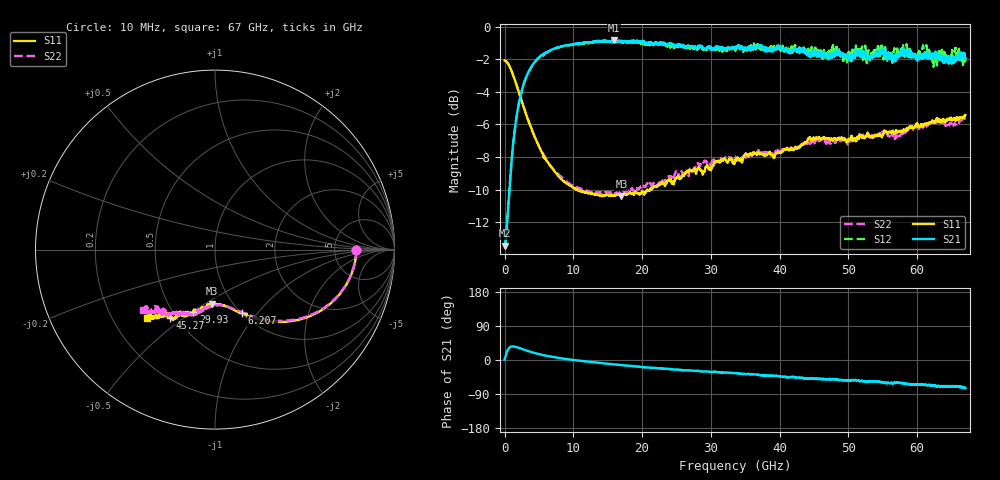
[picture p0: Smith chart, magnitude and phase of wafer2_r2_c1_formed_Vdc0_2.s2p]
!Keysight Technologies,N5227A,US51270248,A.10.65.08
!Date: Tuesday, June 11, 2024 06:44:11
!Correction: S11(Full 2 Port(1,4))
!S41(Full 2 Port(1,4))
!S14(Full 2 Port(1,4))
!S44(Full 2 Port(1,4))
!S2P File: Measurements: S11, S41, S14, S44:
# Hz S  dB  R 50
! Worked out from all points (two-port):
!   3201 points, 10 MHz to 67 GHz, reference 50 ohm
!   highest |S21| = -0.85 dB at 15.88 GHz (marker M1); lowest = -13.4 dB at 10 MHz (marker M2)
!   |S21| within 3 dB of the highest: 2.555 GHz to end of sweep
!   lowest |S11| = -10.4 dB at 16.99 GHz (marker M3), VSWR 1.86, Z = 40.5 - j26.9 ohm
!   |S11| at or under -10 dB: 10.46699 GHz to 10.48553 GHz (18.54 MHz wide, 0.177 % of centre); 10.56 GHz to 20.69 GHz (10.14 GHz wide, 64.9 % of centre); 20.75 GHz to 21.14 GHz (392.3 MHz wide, 1.87 % of centre)
!   |S22| runs from -10.2 to -2.1 dB; largest |S21 - S12| = 0.087
!   S11 on the Smith chart (normalised r, x): 10 MHz: 8.42, -0.16; 6.207 GHz: 1.01, -0.84; 29.93 GHz: 0.63, -0.51; 45.27 GHz: 0.47, -0.45; 67 GHz: 0.35, -0.37
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1e7  -2.07 -0.3  -13.43 0.9  -13.46 0.9  -2.07 -0.2
1.140456e9  -2.84 -23.1  -7.67 35.9  -7.66 35.7  -2.86 -22.8
2.124372e9  -4.08 -37.8  -4.62 31.7  -4.62 31.6  -4.09 -37.1
3.945662e9  -6.31 -54.9  -2.44 20.6  -2.45 20.4  -6.33 -53.9
6.206575e9  -8.28 -66.9  -1.56 10.7  -1.56 10.6  -8.23 -65.6
1.118896e10  -10.10 -82.1  -1.02 -2.3  -1.06 -2.6  -9.95 -80.7
1.587826e10  -10.35 -91.7  -0.85 -11.5  -0.93 -11.2  -10.22 -90.8
1.698778e10  -10.40 -93.0  -0.90 -13.6  -0.96 -13.4  -10.21 -92.0
2.234698e10  -9.71 -99.0  -1.07 -21.5  -1.06 -21.3  -9.70 -100.0
2.992522e10  -8.67 -109.1  -1.26 -31.6  -1.29 -30.7  -8.49 -111.1
3.3505e10  -8.22 -112.6  -1.34 -34.5  -1.42 -34.7  -7.96 -116.5
4.468396e10  -6.93 -122.6  -1.61 -48.7  -1.31 -48.1  -7.03 -125.7
4.527012e10  -6.85 -123.2  -1.66 -49.6  -1.49 -49.4  -6.98 -126.2
4.782411e10  -6.89 -125.9  -1.64 -51.6  -1.55 -51.9  -7.08 -129.0
4.899644e10  -6.78 -127.0  -1.61 -52.6  -1.68 -54.5  -6.92 -130.0
5.079679e10  -6.86 -127.6  -1.80 -53.6  -1.88 -53.2  -6.94 -130.3
5.584198e10  -6.46 -129.3  -1.70 -59.9  -1.81 -60.3  -6.70 -135.1
5.730738e10  -6.40 -130.0  -1.90 -60.4  -1.66 -60.9  -6.71 -133.5
6.153613e10  -5.92 -131.5  -1.96 -67.1  -1.69 -68.1  -6.07 -136.1
6.264565e10  -5.80 -131.7  -1.62 -66.9  -1.91 -68.2  -5.81 -137.7
6.375517e10  -5.69 -133.8  -1.86 -70.3  -1.65 -70.3  -5.87 -139.9
6.7e10  -5.42 -134.9  -1.94 -74.0  -2.20 -74.8  -5.64 -140.1
